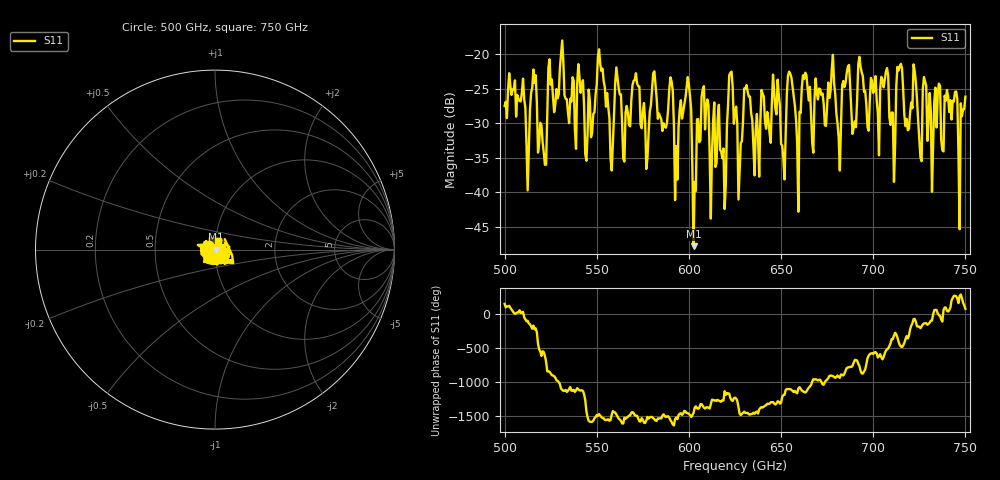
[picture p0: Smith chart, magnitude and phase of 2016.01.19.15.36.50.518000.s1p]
!Created with skrf (http://scikit-rf.org).
# GHz S RI R 50.0
!freq ReS11 ImS11
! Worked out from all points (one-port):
!   401 points, 500 GHz to 750 GHz, reference 50 ohm
!   lowest |S11| = -47.8 dB at 602.5 GHz (marker M1), VSWR 1.01, Z = 50.4 - j0.108 ohm
!   |S11| at or under -10 dB: start of sweep to end of sweep
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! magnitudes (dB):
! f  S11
! 500 GHz  -27.5
! 512.5 GHz  -39.7
! 515.6 GHz  -22.2
! 521.2 GHz  -34.2
! 531.2 GHz  -18.0
! 544.4 GHz  -35.4
! 551.9 GHz  -21.4
! 557.5 GHz  -35.2
! 562.5 GHz  -25.8
! 590 GHz  -23.3
! 593.8 GHz  -38.2
! 599.4 GHz  -23.3
! 602.5 GHz  -47.8
! 608.1 GHz  -24.6
! 618.8 GHz  -33.6
! 622.5 GHz  -22.7
! 625 GHz  -28.3
! 646.9 GHz  -27.8
! 651.2 GHz  -35.2
! 656.2 GHz  -24.7
! 659.4 GHz  -42.8
! 662.5 GHz  -23.6
! 687.5 GHz  -24.7
! 706.9 GHz  -22.5
! 710.6 GHz  -28.4
! 714.4 GHz  -21.8
! 718.8 GHz  -31.0
! 750 GHz  -26.1
